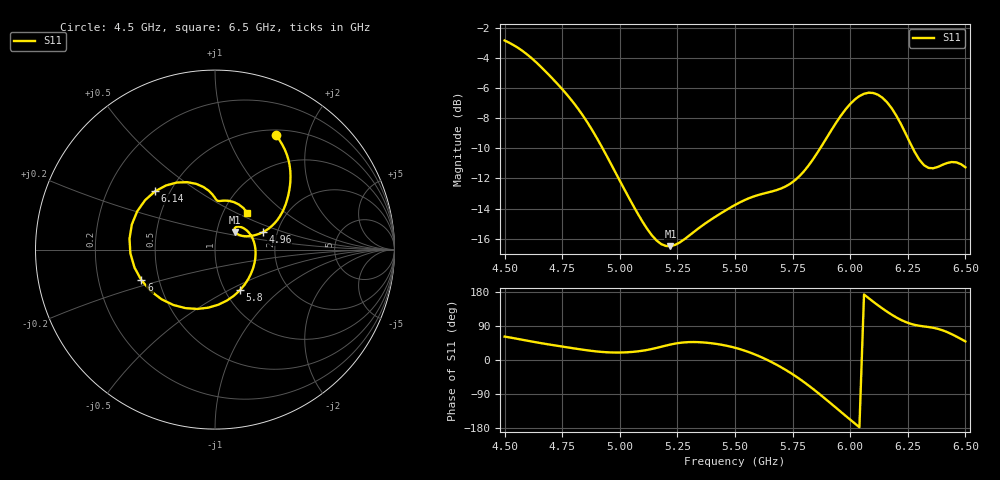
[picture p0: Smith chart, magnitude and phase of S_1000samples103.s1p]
! TOUCHSTONE file generated by CST MICROWAVE STUDIO
! Date and time: Thu Oct 27 00:17:22 2022
! Project name: L.cst
! Parameters = {Di=1.27; Epsilon_r=1.56; InnerDiameter=1.27; Length=2; Lf=10; Lg=60; OuterConductorThickness=0.2921; OuterDiameter=3.6; Wf=3; Wp=41.2; de=1.5; df=6.8; g=0.8; gx=0.693548; gy=1.89811; h=2.34; hf=1.524; px=10.6181; py=10.4713; w=9.7; wx=9.92458; wy=8.57319}
! Header version: 2018
! Port assignment regex: !\s*Touchstone port\s*([0-9]+)\s*=\s*(CST MWS port|CST DS port)\s*([0-9]+|Zmin|Zmax)\s*\(\"(.*)\"\)(\s*mode\s*([0-9]+))?.*
! Touchstone port assignment:
! Touchstone port 1 = CST MWS port 1 ("")
# GHz S DB R 50
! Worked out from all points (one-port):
!   101 points, 4.5 GHz to 6.5 GHz, reference 50 ohm
!   lowest |S11| = -16.5 dB at 5.22 GHz (marker M1), VSWR 1.35, Z = 61.4 + j12.3 ohm
!   |S11| at or under -10 dB: 4.925 GHz to 5.87 GHz (944.4 MHz wide, 17.5 % of centre); 6.272 GHz to end of sweep
!   S11 on the Smith chart (normalised r, x): 4.5 GHz: 0.57, +1.52; 4.96 GHz: 1.68, +0.35; 5.8 GHz: 1.17, -0.57; 6 GHz: 0.40, -0.17; 6.14 GHz: 0.42, +0.34; 6.5 GHz: 1.29, +0.58
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4.5  -2.83 61.8
4.62  -4.04 48.5
4.76  -6.24 34.6
4.88  -8.78 23.9
4.96  -10.99 20.0
5  -12.15 19.7
5.14  -15.80 29.2
5.22  -16.50 40.8
5.26  -16.26 45.2
5.38  -14.90 45.4
5.5  -13.76 32.4
5.64  -12.94 0.2
5.76  -12.12 -41.6
5.8  -11.51 -58.6
5.86  -10.24 -86.6
5.92  -8.75 -116.7
5.96  -7.82 -137.1
6  -7.05 -157.4
6.04  -6.52 -177.4
6.06  -6.37 172.8
6.1  -6.32 153.8
6.14  -6.63 135.9
6.16  -6.94 127.5
6.2  -7.82 112.4
6.26  -9.64 96.0
6.34  -11.30 87.0
6.44  -10.91 68.3
6.5  -11.26 49.0
